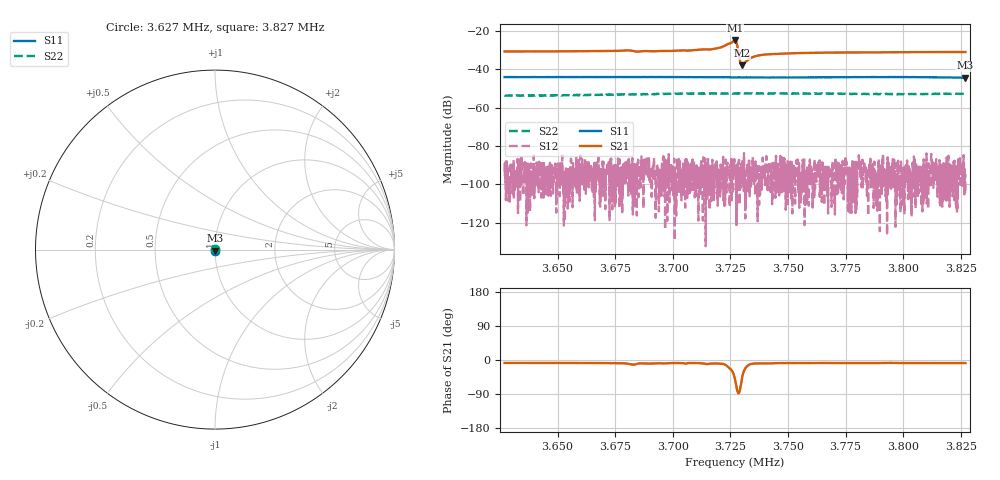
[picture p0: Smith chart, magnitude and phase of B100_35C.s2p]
# Hz S dB R 50.000
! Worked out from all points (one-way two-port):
!   6401 points, 3.627 MHz to 3.827 MHz, reference 50 ohm
!   highest |S21| = -25.05 dB at 3.727 MHz (marker M1); lowest = -37.9 dB at 3.73 MHz (marker M2)
!   lowest |S11| = -44.5 dB at 3.827 MHz (marker M3), VSWR 1.01, Z = 49.9 - j0.593 ohm
!   |S11| at or under -10 dB: start of sweep to end of sweep
!   |S22| runs from -54.0 to -52.5 dB; largest |S21 - S12| = 0.056
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3627031  -44.15 -95.6  -30.79 -7.6  -88.93 23.0  -53.65 101.4
3660375  -44.13 -94.8  -30.65 -7.9  -96.49 95.4  -53.48 102.7
3680437  -44.11 -94.8  -30.21 -9.7  -91.17 24.8  -53.21 99.3
3684531  -44.11 -94.6  -30.87 -10.2  -89.16 98.5  -53.15 98.5
3693718  -44.14 -95.4  -30.61 -8.5  -94.39 -56.1  -52.82 96.3
3706687  -44.18 -95.3  -30.35 -8.1  -92.24 -51.1  -52.78 97.2
3716750  -44.23 -95.1  -29.67 -9.3  -106.06 118.5  -52.63 98.8
3720844  -44.25 -95.2  -28.68 -9.7  -90.96 94.3  -52.74 99.1
3726344  -44.31 -95.1  -25.45 -36.0  -89.42 1.9  -52.79 100.7
3727031  -44.29 -95.3  -25.05 -50.8  -91.70 -32.5  -52.69 100.5
3727437  -44.27 -95.0  -25.50 -63.5  -101.45 31.8  -52.68 100.7
3727844  -44.30 -95.3  -26.88 -76.5  -104.91 4.5  -52.57 101.2
3729406  -44.30 -95.2  -36.63 -72.4  -98.50 139.7  -52.63 101.2
3730094  -44.31 -95.1  -37.94 -47.4  -90.47 39.7  -52.71 101.0
3730750  -44.29 -95.0  -37.33 -31.5  -101.01 11.4  -52.66 101.5
3732812  -44.34 -95.2  -35.06 -13.6  -94.67 11.1  -52.71 102.5
3734437  -44.31 -95.1  -33.89 -10.1  -96.98 77.6  -52.66 101.2
3738437  -44.34 -95.2  -32.63 -8.8  -91.37 57.1  -52.68 102.2
3760375  -44.31 -95.3  -31.50 -7.9  -95.27 65.2  -52.74 104.2
3793718  -44.17 -96.1  -31.22 -7.6  -89.60 15.1  -52.99 101.2
3826718  -44.47 -96.5  -31.07 -8.1  -91.59 2.2  -52.80 97.7
3827031  -44.45 -96.5  -31.08 -8.1  -94.71 89.1  -52.72 97.0
